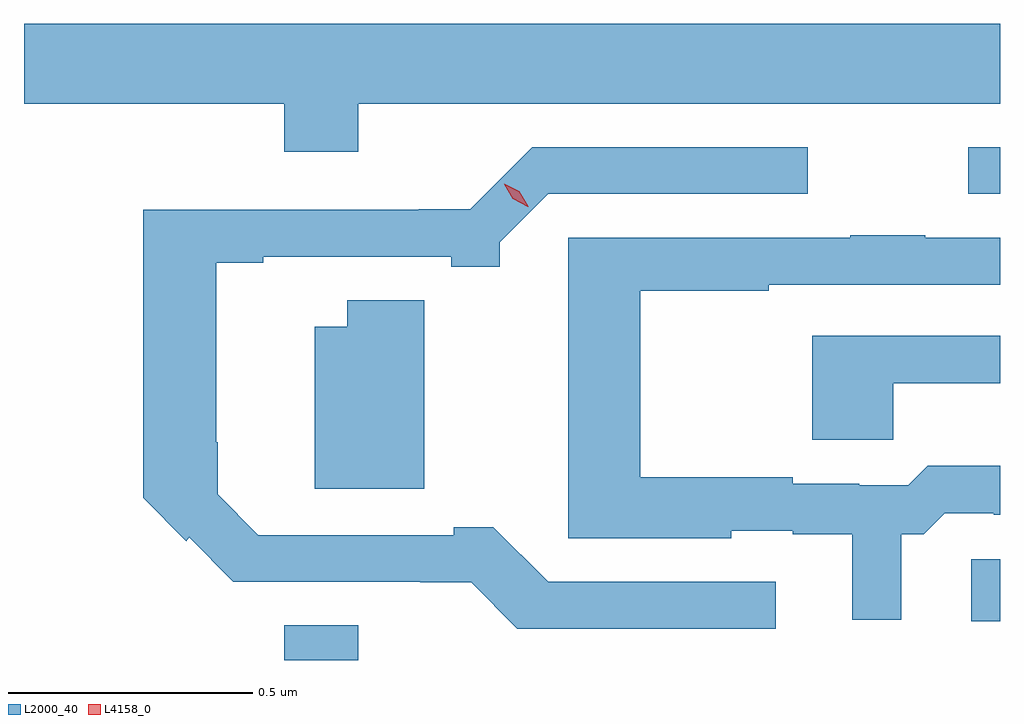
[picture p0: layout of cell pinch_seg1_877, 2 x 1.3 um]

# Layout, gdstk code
import gdstk
lib = gdstk.Library(unit=1e-6, precision=1e-09)
def R(c, l, rs):  # rectangles x0, y0, x1, y1
    for r in rs: c.add(gdstk.rectangle(r[:2], r[2:], *l))
def P(c, l, *ps):  # polygons
    for p in ps: c.add(gdstk.Polygon(p, *l))
L2000_40 = (2000, 40)
L4158_0 = (4158, 0)

pinch_seg1_877 = lib.new_cell('pinch_seg1_877')
R(pinch_seg1_877, L2000_40, [(424.067,535.939,424.219,536.011), (425.475,536.019,425.534,536.146), (425.469,536.895,425.534,536.991)])
P(pinch_seg1_877, L2000_40, [(424.219,537.08),(425.534,537.08),(425.534,537.244),(423.534,537.244),(423.534,537.08),(424.067,537.08),(424.067,536.981),(424.219,536.981)],
  [(425.074,536.1),(424.608,536.1),(424.496,536.212),(424.415,536.212),(424.415,536.196),(424.014,536.196),(423.931,536.28),(423.931,536.386),(423.928,536.386),(423.928,536.754),(424.024,536.754),(424.024,536.766),(424.409,536.766),(424.409,536.746),(424.509,536.746),(424.509,536.796),(424.608,536.895),(425.14,536.895),(425.14,536.991),(424.575,536.991),(424.448,536.864),(424.343,536.864),(424.343,536.862),(423.778,536.862),(423.778,536.272),(423.866,536.183),(423.873,536.191),(423.963,536.1),(424.346,536.1),(424.346,536.099),(424.451,536.099),(424.545,536.004),(425.074,536.004)],
  [(425.332,536.198),(425.378,536.198),(425.421,536.241),(425.521,536.241),(425.521,536.238),(425.534,536.238),(425.534,536.338),(425.386,536.338),(425.346,536.298),(425.246,536.298),(425.246,536.301),(425.109,536.301),(425.109,536.314),(424.797,536.314),(424.797,536.697),(425.06,536.697),(425.06,536.709),(425.534,536.709),(425.534,536.805),(425.381,536.805),(425.381,536.81),(425.227,536.81),(425.227,536.805),(424.649,536.805),(424.649,536.189),(424.983,536.189),(424.983,536.205),(425.109,536.205),(425.109,536.198),(425.231,536.198),(425.231,536.022),(425.332,536.022)],
  [(424.354,536.677),(424.196,536.677),(424.196,536.623),(424.13,536.623),(424.13,536.291),(424.354,536.291)],
  [(425.315,536.507),(425.534,536.507),(425.534,536.604),(425.149,536.604),(425.149,536.391),(425.315,536.391)])
P(pinch_seg1_877, L4158_0, [(424.566,536.869),(424.536,536.885),(424.518,536.915),(424.518,536.916),(424.518,536.916),(424.549,536.9),(424.567,536.87),(424.567,536.869)])

lib.write_gds('pinch_seg1_877.gds')
